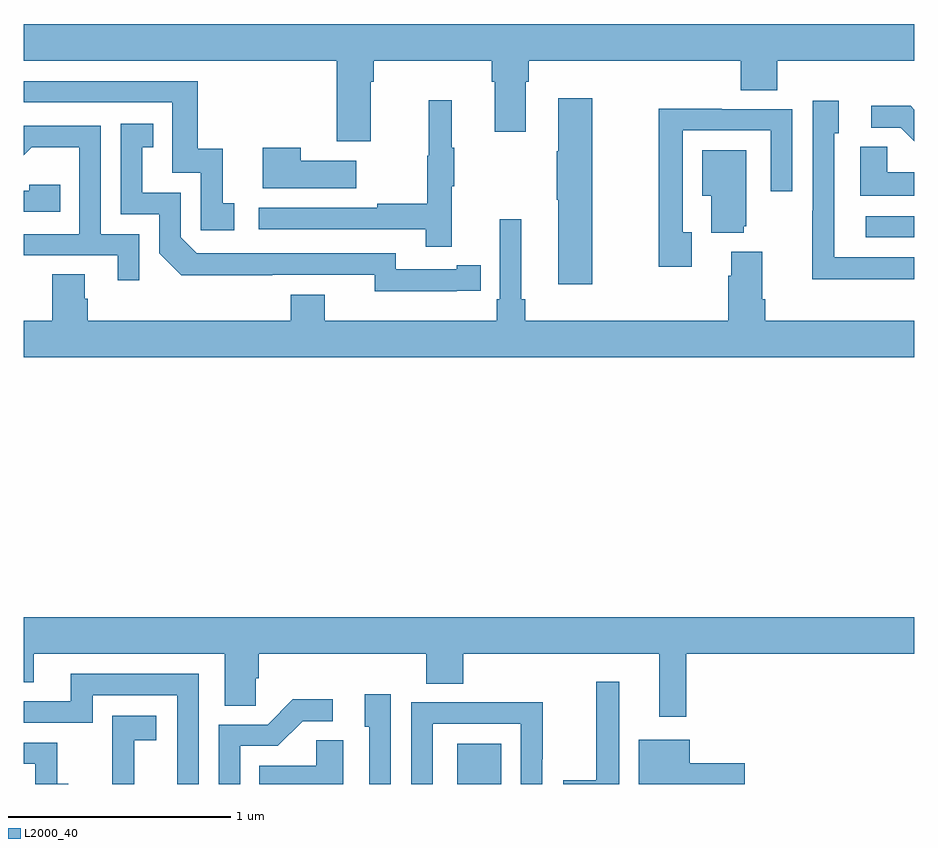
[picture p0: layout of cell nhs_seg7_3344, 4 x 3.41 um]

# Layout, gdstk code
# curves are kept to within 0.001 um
import gdstk
lib = gdstk.Library(unit=1e-6, precision=1e-09)
def R(c, l, rs):  # rectangles x0, y0, x1, y1
    for r in rs: c.add(gdstk.rectangle(r[:2], r[2:], *l))
def P(c, l, *ps):  # polygons
    for p in ps: c.add(gdstk.Polygon(p, *l))
L2000_40 = (2000, 40)

nhs_seg7_3344 = lib.new_cell('nhs_seg7_3344')
R(nhs_seg7_3344, L2000_40, [(324.947,1032,325.144,1032.181), (326.781,1034.454,327,1034.55)])
P(nhs_seg7_3344, L2000_40, [(324.559,1035.152),(324.572,1035.152),(324.572,1035.248),(325.103,1035.248),(325.103,1035.152),(325.115,1035.152),(325.115,1034.928),(325.255,1034.928),(325.255,1035.152),(325.268,1035.152),(325.268,1035.248),(326.219,1035.248),(326.219,1035.115),(326.384,1035.115),(326.384,1035.248),(327,1035.248),(327,1035.412),(323,1035.412),(323,1035.248),(324.407,1035.248),(324.407,1034.886),(324.559,1034.886)],
  [(323.947,1034.607),(323.894,1034.607),(323.894,1034.853),(323.783,1034.853),(323.783,1035.156),(323,1035.156),(323,1035.06),(323.667,1035.06),(323.667,1034.745),(323.796,1034.745),(323.796,1034.487),(323.947,1034.487)],
  [(325.554,1035.079),(325.4,1035.079),(325.4,1034.84),(325.393,1034.84),(325.393,1034.623),(325.4,1034.623),(325.4,1034.244),(325.554,1034.244)],
  [(324.923,1034.683),(324.934,1034.683),(324.934,1034.857),(324.923,1034.857),(324.923,1035.07),(324.82,1035.07),(324.82,1034.82),(324.813,1034.82),(324.813,1034.606),(324.589,1034.606),(324.589,1034.586),(324.057,1034.586),(324.057,1034.49),(324.805,1034.49),(324.805,1034.412),(324.923,1034.412)],
  [(327,1034.364),(326.64,1034.364),(326.64,1034.922),(326.659,1034.922),(326.659,1035.067),(326.544,1035.067),(326.544,1034.573),(326.542,1034.573),(326.542,1034.267),(327,1034.267)],
  [(327,1035.027),(326.983,1035.044),(326.805,1035.044),(326.805,1034.946),(326.939,1034.946),(327,1034.885)],
  [(325.999,1034.478),(325.959,1034.478),(325.959,1034.934),(326.355,1034.934),(326.355,1034.661),(326.451,1034.661),(326.451,1035.03),(326.135,1035.03),(326.135,1035.032),(325.851,1035.032),(325.851,1034.322),(325.999,1034.322)],
  [(324.944,1034.214),(325.052,1034.214),(325.052,1034.33),(324.944,1034.33),(324.944,1034.31),(324.672,1034.31),(324.672,1034.382),(323.778,1034.382),(323.706,1034.454),(323.706,1034.655),(323.533,1034.655),(323.533,1034.859),(323.582,1034.859),(323.582,1034.965),(323.436,1034.965),(323.436,1034.559),(323.61,1034.559),(323.61,1034.382),(323.708,1034.285),(324.576,1034.286),(324.576,1034.213)],
  [(323.52,1034.469),(323.346,1034.469),(323.346,1034.955),(323,1034.955),(323,1034.822),(323.036,1034.858),(323.25,1034.858),(323.25,1034.469),(323,1034.469),(323,1034.373),(323.423,1034.373),(323.423,1034.262),(323.52,1034.262)],
  [(327,1034.746),(326.877,1034.746),(326.877,1034.861),(326.756,1034.861),(326.756,1034.642),(327,1034.642)],
  [(324.493,1034.797),(324.245,1034.797),(324.245,1034.857),(324.074,1034.857),(324.074,1034.675),(324.493,1034.675)],
  [(326.234,1034.505),(326.245,1034.505),(326.245,1034.845),(326.048,1034.845),(326.048,1034.642),(326.087,1034.642),(326.087,1034.474),(326.234,1034.474)],
  [(323.165,1034.691),(323.025,1034.691),(323.025,1034.664),(323,1034.664),(323,1034.568),(323.165,1034.568)],
  [(327,1034.08),(326.33,1034.08),(326.33,1034.176),(326.317,1034.176),(326.317,1034.389),(326.177,1034.389),(326.177,1034.282),(326.165,1034.282),(326.165,1034.08),(325.253,1034.08),(325.253,1034.176),(325.234,1034.176),(325.234,1034.536),(325.137,1034.536),(325.137,1034.176),(325.124,1034.176),(325.124,1034.08),(324.352,1034.08),(324.352,1034.197),(324.2,1034.197),(324.2,1034.08),(323.288,1034.08),(323.288,1034.178),(323.275,1034.178),(323.275,1034.288),(323.128,1034.288),(323.128,1034.08),(323,1034.08),(323,1033.916),(327,1033.916)],
  [(323,1032.457),(323.047,1032.457),(323.047,1032.584),(323.903,1032.584),(323.903,1032.352),(324.042,1032.352),(324.042,1032.475),(324.056,1032.475),(324.056,1032.584),(324.809,1032.584),(324.809,1032.451),(324.974,1032.451),(324.974,1032.584),(325.853,1032.584),(325.853,1032.303),(325.975,1032.303),(325.975,1032.584),(327,1032.584),(327,1032.748),(323,1032.748)],
  [(323.787,1032.495),(323.213,1032.495),(323.213,1032.372),(323,1032.372),(323,1032.276),(323.31,1032.276),(323.31,1032.399),(323.691,1032.399),(323.691,1032),(323.787,1032)],
  [(325.675,1032.46),(325.571,1032.46),(325.571,1032.016),(325.424,1032.016),(325.424,1032),(325.675,1032)],
  [(324.648,1032.403),(324.533,1032.403),(324.533,1032.258),(324.552,1032.258),(324.552,1032),(324.648,1032)],
  [(323.973,1032.171),(324.142,1032.171),(324.253,1032.282),(324.388,1032.282),(324.388,1032.38),(324.209,1032.38),(324.096,1032.267),(323.877,1032.267),(323.877,1032),(323.973,1032)],
  [(324.837,1032.27),(325.233,1032.27),(325.233,1032),(325.329,1032),(325.329,1032.112),(325.332,1032.112),(325.332,1032.368),(325.057,1032.368),(325.057,1032.366),(324.741,1032.366),(324.741,1032),(324.837,1032)],
  [(323.498,1032.197),(323.596,1032.197),(323.596,1032.307),(323.398,1032.307),(323.398,1032.101),(323.399,1032.101),(323.399,1032),(323.498,1032)],
  [(326.239,1032.093),(325.99,1032.093),(325.99,1032.199),(325.763,1032.199),(325.763,1032),(326.239,1032)],
  [(324.436,1032.197),(324.315,1032.197),(324.315,1032.082),(324.058,1032.082),(324.058,1032),(324.436,1032)],
  [(323.2,1032.001),(323.151,1032.001),(323.151,1032.186),(323,1032.186),(323,1032.09),(323.052,1032.09),(323.052,1032),(323.2,1032)])

lib.write_gds('nhs_seg7_3344.gds')
